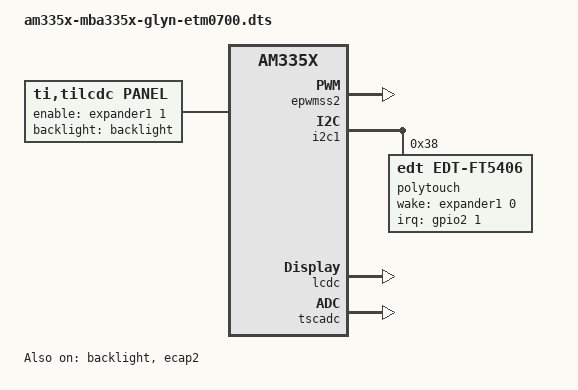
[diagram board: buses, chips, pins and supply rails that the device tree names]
// SPDX-License-Identifier: GPL-2.0-only
/*
 * Copyright (c) 2021-2023 TQ-Systems GmbH <linux@ew.tq-group.com>,
 * D-82229 Seefeld, Germany.
 *
 * Based on:
 * Copyright (C) 2012 Texas Instruments Incorporated - http://www.ti.com/
 */
#include "am335x-mba335x.dts"
#include <dt-bindings/gpio/gpio.h>
#include <dt-bindings/interrupt-controller/irq.h>
#include <dt-bindings/pwm/pwm.h>

/ {
	panel {
		compatible = "ti,tilcdc,panel";
		backlight = <&backlight>;
		enable-gpios = <&expander1 1 GPIO_ACTIVE_HIGH>;

		panel-info {
			ac-bias           = <255>;
			ac-bias-intrpt    = <0>;
			dma-burst-sz      = <16>;
			bpp               = <32>;
			fdd               = <0x80>;
			sync-edge         = <0>;
			sync-ctrl         = <0>;
			raster-order      = <0>;
			fifo-th           = <0>;
		};

		display-timings {
			native-mode = <&et0700>;

			/* ET0700G0DH6 + ETM0700G0DH6 + ETM0700G0BDH6 */
			et0700: 800x480p62 {
				clock-frequency = <33260000>;
				hactive = <800>;
				vactive = <480>;
				hback-porch = <216>;
				hfront-porch = <40>;
				vback-porch = <35>;
				vfront-porch = <10>;
				hsync-len = <128>;
				vsync-len = <2>;
				hsync-active = <0>;
				vsync-active = <0>;
				de-active = <1>;
				pixelclk-active = <0>;
			};
		};
	};
};

&backlight {
	pwms = <&ecap2 0 50000 PWM_POLARITY_INVERTED>;
	brightness-levels = <0 58 61 66 75 90 125 170 255>;
	default-brightness-level = <7>;
	status = "okay";
};

/*
 * See also:
 * https://source.denx.de/u-boot/u-boot/-/commit/8c17cbdf8a8023abdd0009af4dc9dbc0541b4a0f
 */
&emif {
	ti,ocp-config = <0x003d3d3d>;
};

&epwmss2 {
	status = "okay";
};

&ecap2 {
	status = "okay";
};

&i2c1 {
	status = "okay";

	polytouch: touch@38 {
		compatible = "edt,edt-ft5406", "edt,edt-ft5x06";
		reg = <0x38>;
		pinctrl-names = "default";
		pinctrl-0 = <&polytouch_pins>;
		interrupt-parent = <&gpio2>;
		interrupts = <1 IRQ_TYPE_EDGE_FALLING>;
		/* reset by global reset */
		wake-gpios = <&expander1 0 0>;
		gain = <20>;
	};
};

&lcdc {
	status = "okay";
};

&tscadc {
	status = "okay";

	tsc {
		ti,wires = <4>;
		ti,x-plate-resistance = <200>;
		ti,coordinate-readouts = <7>;
		ti,wire-config = <0x01 0x10 0x23 0x32>;
		ti,tolerance = <5>;
	};

	adc {
		ti,adc-channels = <4 5 6 7>;
	};
};
